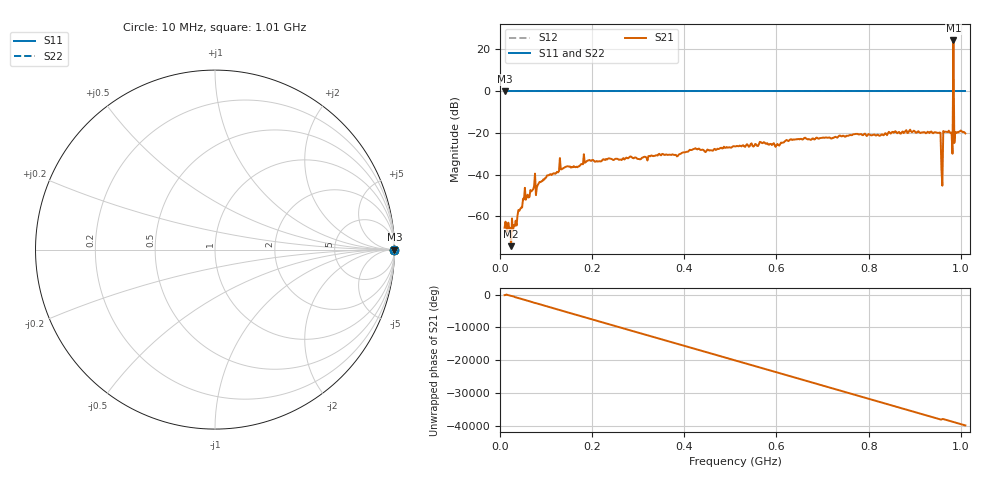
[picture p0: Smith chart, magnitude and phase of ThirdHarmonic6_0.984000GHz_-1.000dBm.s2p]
! 8/16/2025 7:41:04 AM
! C:\ANRITSUVNA\TEMP\TEMP.S2P
! CHANNEL.1
! TR.MEASUREMENT
! RAW.DATA
! RF.CORRECTION.OFF
! AVERAGING.OFF
! IF.BANDWIDTH: 5KHZ
! SWEEPTYPE:  FREQ.SWEEP(Linear)
! Reference Plane Port Info
! PORT:  PORT1  PORT2
! DISTANCE:  0  m  0  m
! TIME:  0  s  0  s
! PHASE.OFFSET:  0  deg.  0  deg.
! LOSS:  0  dB  0  dB
! REF.LOSS:  0  dB  0  dB
! REF.FREQ:  0  Hz  0  Hz
! Power Info
! POWER:  -20  dBm  -20  dBm
! EFF.POWER:  -20  dBm  -20  dBm
! SOURCE.ATTEN:  0  dB  0  dB
! TEST.ATTEN:  0  dB  0  dB
# GHZ S RI R 50.0
! FREQ.GHZ  S11RE  S11IM  S21RE  S21IM  S12RE  S12IM  S22RE  S22IM
!; PortSelection: Port_12
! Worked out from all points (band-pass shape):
!   501 points, 10 MHz to 1.01 GHz, reference 50 ohm
!   highest |S21| = 24.29 dB at 984 MHz (marker M1); lowest = -74.2 dB at 24 MHz (marker M2)
!   |S21| within 3 dB of the highest: 983.8894 MHz to 984.1222 MHz (232.8 kHz wide, 0.0237 % of centre)
!   lowest |S11| = 0.0 dB at 10 MHz (marker M3)
!   |S11| at or under -10 dB: nowhere
!   |S22| runs from 0.0 to 0.0 dB; largest |S21 - S12| = 16
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0.01  1 0  -0.0005 -0.0002  1 0  1 0
0.024  1 0  0.000157 -0.000114  1 0  1 0
0.032  1 0  0.000572 -0.000108  1 0  1 0
0.05  1 0  0.00266 -0.000211  1 0  1 0
0.072  1 0  -0.00432 0.00113  1 0  1 0
0.134  1 0  -0.0128 0.00398  1 0  1 0
0.178  1 0  -0.018 -0.00136  1 0  1 0
0.344  1 0  0.0289 -0.0105  1 0  1 0
0.51  1 0  -0.0404 0.025  1 0  1 0
0.678  1 0  -0.0537 -0.0505  1 0  1 0
0.844  1 0  0.105 0.016  1 0  1 0
0.952  1 0  0.0799 -0.061  1 0  1 0
0.956  1 0  -0.0957 0.0306  1 0  1 0
0.962  1 0  0.0226 -0.1086  1 0  1 0
0.966  1 0  -0.0507 0.0945  1 0  1 0
0.976  1 0  0.0336 0.0964  1 0  1 0
0.978  1 0  0.0998 -0.0137  1 0  1 0
0.98  1 0  0.00596 -0.1017  1 0  1 0
0.984  1 0  6.419 15.07  1 0  1 0
0.988  1 0  0.0642 -0.0826  1 0  1 0
0.99  1 0  -0.0647 -0.076  1 0  1 0
1.01  1 0  -0.0702 0.067  1 0  1 0
